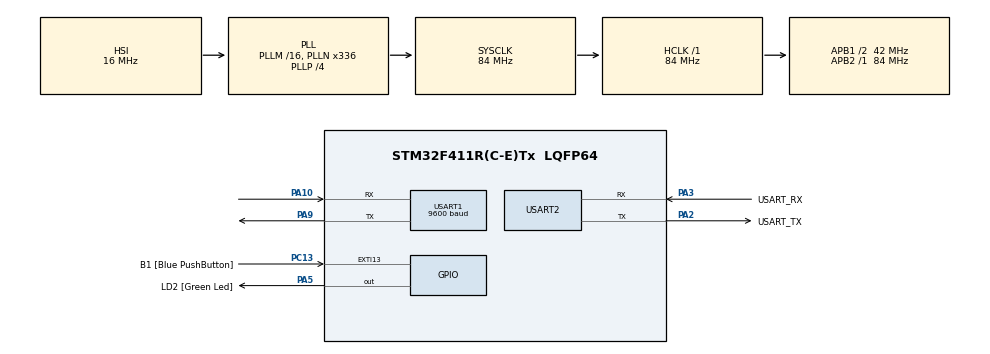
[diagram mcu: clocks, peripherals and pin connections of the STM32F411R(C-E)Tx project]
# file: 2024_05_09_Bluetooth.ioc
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Mcu.Family=STM32F4
Mcu.Name=STM32F411R(C-E)Tx
Mcu.Package=LQFP64
NVIC.PriorityGroup=NVIC_PRIORITYGROUP_0
NVIC.TIM3_IRQn=true\:0\:0\:false\:false\:true\:true\:true\:true
NVIC.USART1_IRQn=true\:0\:0\:false\:false\:true\:true\:true\:true
PA10.Mode=Asynchronous
PA10.Signal=USART1_RX
PA13.GPIO_Label=TMS
PA13.Mode=Serial_Wire
PA13.Signal=SYS_JTMS-SWDIO
PA14.GPIO_Label=TCK
PA14.Mode=Serial_Wire
PA14.Signal=SYS_JTCK-SWCLK
PA2.GPIO_Label=USART_TX
PA2.Mode=Asynchronous
PA2.Signal=USART2_TX
PA3.GPIO_Label=USART_RX
PA3.Mode=Asynchronous
PA3.Signal=USART2_RX
PA5.GPIO_Label=LD2 [Green Led]
PA5.Signal=GPIO_Output
PA9.Mode=Asynchronous
PA9.Signal=USART1_TX
PB3.GPIO_Label=SWO
PB3.Signal=SYS_JTDO-SWO
PC13-ANTI_TAMP.GPIO_Label=B1 [Blue PushButton]
PC13-ANTI_TAMP.GPIO_ModeDefaultEXTI=GPIO_MODE_IT_FALLING
PC13-ANTI_TAMP.Signal=GPXTI13
PC14-OSC32_IN.Mode=LSE-External-Oscillator
PC14-OSC32_IN.Signal=RCC_OSC32_IN
PC15-OSC32_OUT.Mode=LSE-External-Oscillator
PC15-OSC32_OUT.Signal=RCC_OSC32_OUT
PH0\ -\ OSC_IN.Mode=HSE-External-Clock-Source
PH0\ -\ OSC_IN.Signal=RCC_OSC_IN
PH1\ -\ OSC_OUT.Mode=HSE-External-Clock-Source
PH1\ -\ OSC_OUT.Signal=RCC_OSC_OUT
ProjectManager.HeapSize=0x200
ProjectManager.StackSize=0x400
ProjectManager.TargetToolchain=STM32CubeIDE
RCC.48MHZClocksFreq_Value=84000000
RCC.AHBFreq_Value=84000000
RCC.APB1CLKDivider=RCC_HCLK_DIV2
RCC.APB1Freq_Value=42000000
RCC.APB1TimFreq_Value=84000000
RCC.APB2Freq_Value=84000000
RCC.APB2TimFreq_Value=84000000
RCC.CortexFreq_Value=84000000
RCC.FLatency-AdvancedSettings=FLASH_LATENCY_2
RCC.HCLKFreq_Value=84000000
RCC.HSE_VALUE=8000000
RCC.HSI_VALUE=16000000
RCC.PLLN=336
RCC.PLLP=RCC_PLLP_DIV4
RCC.SYSCLKFreq_VALUE=84000000
RCC.SYSCLKSource=RCC_SYSCLKSOURCE_PLLCLK
RCC.VCOOutputFreq_Value=336000000
TIM3.Period=10000-1
TIM3.Prescaler=8400-1
USART1.BaudRate=9600
USART1.VirtualMode=VM_ASYNC
USART2.VirtualMode=VM_ASYNC
VP_TIM3_VS_ClockSourceINT.Mode=Internal
board=NUCLEO-F411RE

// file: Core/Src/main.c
/* USER CODE BEGIN Header */
/**
  ******************************************************************************
  * @file           : main.c
  * @brief          : Main program body
  ******************************************************************************
  * @attention
  *
  * Copyright (c) 2024 STMicroelectronics.
  * All rights reserved.
  *
  * This software is licensed under terms that can be found in the LICENSE file
  * in the root directory of this software component.
  * If no LICENSE file comes with this software, it is provided AS-IS.
  *
  ******************************************************************************
  */
/* USER CODE END Header */
#include "main.h"

/* USER CODE BEGIN Includes */
#include "C:\Harman\ARM Architecture\Common\myLib.h"

/* USER CODE END Includes */

TIM_HandleTypeDef htim3;

UART_HandleTypeDef huart1;
UART_HandleTypeDef huart2;

void SystemClock_Config(void);
static void MX_GPIO_Init(void);
static void MX_USART2_UART_Init(void);
static void MX_TIM3_Init(void);
static void MX_USART1_UART_Init(void);

/* USER CODE BEGIN 0 */
char buf1[100], dum1;
char buf2[100], dum2;
int idx1 = 0, idx2 = 0;
void HAL_UART_RxCpltCallback(UART_HandleTypeDef *huart)
{
	if(huart == &huart1)  // BT input
	{
		buf1[idx1++] = dum1;
		HAL_UART_Receive_IT(&huart1, &dum1, 1);
	}
	else if(huart == &huart2) // KBD input
	{
		HAL_UART_Transmit(&huart2, &dum2, 1, 10);
		if(dum2 == '\r')
		{
			HAL_UART_Transmit(&huart2, "\n", 1, 10);
			HAL_UART_Transmit(&huart1, buf2, idx2, 10);
			//HAL_UART_Transmit(&huart1, "\r\n", 2, 10);
			HAL_UART_Transmit(&huart1, "\0", 1, 10);
			idx2 = 0;
		}
		else buf2[idx2++] = dum2;
		HAL_UART_Receive_IT(&huart2, &dum2, 1);
	}
}
void HAL_TIM_PeriodElapsedCallback(TIM_HandleTypeDef *htim)
{
	if(idx1)
	{
		buf1[idx1] = 0;
		printf("UART1>%s\r\n",buf1);
		idx1 = 0;
	}
}

/* USER CODE END 0 */

int main(void)
{

  /* MCU Configuration--------------------------------------------------------*/

  /* Reset of all peripherals, Initializes the Flash interface and the Systick. */
  HAL_Init();

  /* Configure the system clock */
  SystemClock_Config();

  /* Initialize all configured peripherals */
  MX_GPIO_Init();
  MX_USART2_UART_Init();
  MX_TIM3_Init();
  MX_USART1_UART_Init();
  /* USER CODE BEGIN 2 */

  ProgramStart();
  HAL_UART_Receive_IT(&huart1, &dum1, 1);
  HAL_UART_Receive_IT(&huart2, &dum2, 1);
  HAL_TIM_Base_Start_IT(&htim3);
  /* USER CODE END 2 */

  /* Infinite loop */
  while (1)
  {

  }
}

void SystemClock_Config(void)
{
  RCC_OscInitTypeDef RCC_OscInitStruct = {0};
  RCC_ClkInitTypeDef RCC_ClkInitStruct = {0};

  /** Configure the main internal regulator output voltage
  */
  __HAL_RCC_PWR_CLK_ENABLE();
  __HAL_PWR_VOLTAGESCALING_CONFIG(PWR_REGULATOR_VOLTAGE_SCALE1);

  /** Initializes the RCC Oscillators according to the specified parameters
  * in the RCC_OscInitTypeDef structure.
  */
  RCC_OscInitStruct.OscillatorType = RCC_OSCILLATORTYPE_HSI;
  RCC_OscInitStruct.HSIState = RCC_HSI_ON;
  RCC_OscInitStruct.HSICalibrationValue = RCC_HSICALIBRATION_DEFAULT;
  RCC_OscInitStruct.PLL.PLLState = RCC_PLL_ON;
  RCC_OscInitStruct.PLL.PLLSource = RCC_PLLSOURCE_HSI;
  RCC_OscInitStruct.PLL.PLLM = 16;
  RCC_OscInitStruct.PLL.PLLN = 336;
  RCC_OscInitStruct.PLL.PLLP = RCC_PLLP_DIV4;
  RCC_OscInitStruct.PLL.PLLQ = 4;
  if (HAL_RCC_OscConfig(&RCC_OscInitStruct) != HAL_OK)
  {
    Error_Handler();
  }

  /** Initializes the CPU, AHB and APB buses clocks
  */
  RCC_ClkInitStruct.ClockType = RCC_CLOCKTYPE_HCLK|RCC_CLOCKTYPE_SYSCLK
                              |RCC_CLOCKTYPE_PCLK1|RCC_CLOCKTYPE_PCLK2;
  RCC_ClkInitStruct.SYSCLKSource = RCC_SYSCLKSOURCE_PLLCLK;
  RCC_ClkInitStruct.AHBCLKDivider = RCC_SYSCLK_DIV1;
  RCC_ClkInitStruct.APB1CLKDivider = RCC_HCLK_DIV2;
  RCC_ClkInitStruct.APB2CLKDivider = RCC_HCLK_DIV1;

  if (HAL_RCC_ClockConfig(&RCC_ClkInitStruct, FLASH_LATENCY_2) != HAL_OK)
  {
    Error_Handler();
  }
}

static void MX_TIM3_Init(void)
{

  TIM_ClockConfigTypeDef sClockSourceConfig = {0};
  TIM_MasterConfigTypeDef sMasterConfig = {0};

  htim3.Instance = TIM3;
  htim3.Init.Prescaler = 8400-1;
  htim3.Init.CounterMode = TIM_COUNTERMODE_UP;
  htim3.Init.Period = 10000-1;
  htim3.Init.ClockDivision = TIM_CLOCKDIVISION_DIV1;
  htim3.Init.AutoReloadPreload = TIM_AUTORELOAD_PRELOAD_DISABLE;
  if (HAL_TIM_Base_Init(&htim3) != HAL_OK)
  {
    Error_Handler();
  }
  sClockSourceConfig.ClockSource = TIM_CLOCKSOURCE_INTERNAL;
  if (HAL_TIM_ConfigClockSource(&htim3, &sClockSourceConfig) != HAL_OK)
  {
    Error_Handler();
  }
  sMasterConfig.MasterOutputTrigger = TIM_TRGO_RESET;
  sMasterConfig.MasterSlaveMode = TIM_MASTERSLAVEMODE_DISABLE;
  if (HAL_TIMEx_MasterConfigSynchronization(&htim3, &sMasterConfig) != HAL_OK)
  {
    Error_Handler();
  }

}

static void MX_USART1_UART_Init(void)
{

  huart1.Instance = USART1;
  huart1.Init.BaudRate = 9600;
  huart1.Init.WordLength = UART_WORDLENGTH_8B;
  huart1.Init.StopBits = UART_STOPBITS_1;
  huart1.Init.Parity = UART_PARITY_NONE;
  huart1.Init.Mode = UART_MODE_TX_RX;
  huart1.Init.HwFlowCtl = UART_HWCONTROL_NONE;
  huart1.Init.OverSampling = UART_OVERSAMPLING_16;
  if (HAL_UART_Init(&huart1) != HAL_OK)
  {
    Error_Handler();
  }

}

static void MX_USART2_UART_Init(void)
{

  huart2.Instance = USART2;
  huart2.Init.BaudRate = 115200;
  huart2.Init.WordLength = UART_WORDLENGTH_8B;
  huart2.Init.StopBits = UART_STOPBITS_1;
  huart2.Init.Parity = UART_PARITY_NONE;
  huart2.Init.Mode = UART_MODE_TX_RX;
  huart2.Init.HwFlowCtl = UART_HWCONTROL_NONE;
  huart2.Init.OverSampling = UART_OVERSAMPLING_16;
  if (HAL_UART_Init(&huart2) != HAL_OK)
  {
    Error_Handler();
  }

}

static void MX_GPIO_Init(void)
{
  GPIO_InitTypeDef GPIO_InitStruct = {0};

  /* GPIO Ports Clock Enable */
  __HAL_RCC_GPIOC_CLK_ENABLE();
  __HAL_RCC_GPIOH_CLK_ENABLE();
  __HAL_RCC_GPIOA_CLK_ENABLE();
  __HAL_RCC_GPIOB_CLK_ENABLE();

  /*Configure GPIO pin Output Level */
  HAL_GPIO_WritePin(LD2_GPIO_Port, LD2_Pin, GPIO_PIN_RESET);

  /*Configure GPIO pin : B1_Pin */
  GPIO_InitStruct.Pin = B1_Pin;
  GPIO_InitStruct.Mode = GPIO_MODE_IT_FALLING;
  GPIO_InitStruct.Pull = GPIO_NOPULL;
  HAL_GPIO_Init(B1_GPIO_Port, &GPIO_InitStruct);

  /*Configure GPIO pin : LD2_Pin */
  GPIO_InitStruct.Pin = LD2_Pin;
  GPIO_InitStruct.Mode = GPIO_MODE_OUTPUT_PP;
  GPIO_InitStruct.Pull = GPIO_NOPULL;
  GPIO_InitStruct.Speed = GPIO_SPEED_FREQ_LOW;
  HAL_GPIO_Init(LD2_GPIO_Port, &GPIO_InitStruct);

}

void Error_Handler(void)
{
  __disable_irq();
  while (1)
  {
  }
}
